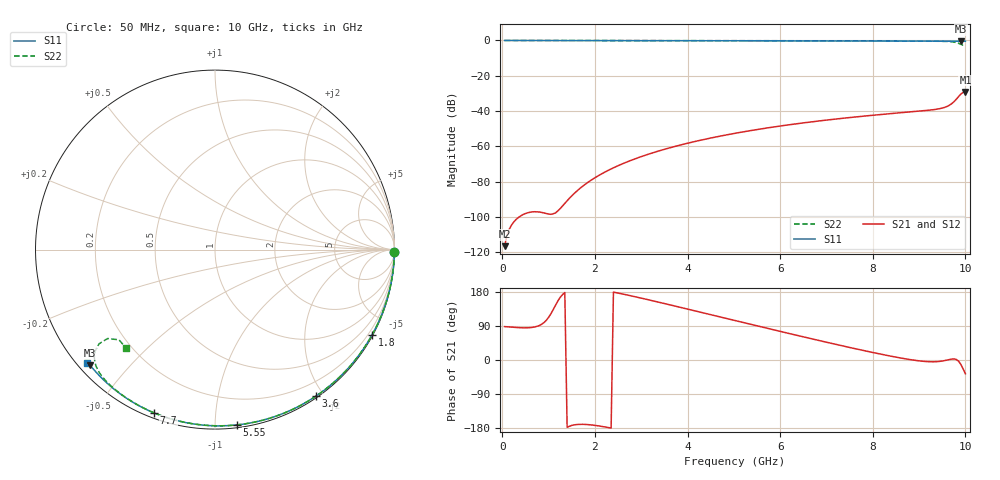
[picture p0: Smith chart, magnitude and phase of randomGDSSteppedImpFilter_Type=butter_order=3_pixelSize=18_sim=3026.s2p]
! freq	dB(S11)	phase(S11)	dB(S12)	phase(S12)
!  dB(S21)	phase(S21)	dB(S22)	phase(S22)
!S-par simulation data
#  GHz  S  DB  R 50
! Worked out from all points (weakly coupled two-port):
!   200 points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, 50 MHz to 10 GHz, reference 50 ohm
!   highest |S21| = -29.22 dB at 10 GHz (marker M1); lowest = -116.4 dB at 50 MHz (marker M2)
!   lowest |S11| = -0.5 dB at 9.9 GHz (marker M3), VSWR 38.28, Z = 1.51 - j19.6 ohm
!   |S11| at or under -10 dB: nowhere
!   |S22| runs from -2.7 to 0.0 dB; largest |S21 - S12| = 0
!   S11 on the Smith chart (normalised r, x): 50 MHz: open; 1.8 GHz: 0.03, -3.95; 3.6 GHz: 0.02, -1.90; 5.55 GHz: 0.02, -1.13; 7.7 GHz: 0.02, -0.69; 10 GHz: 0.03, -0.38
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0.05  -0.00 -0.8  -116.42 88.1  -116.42 88.1  -0.00 -0.8
0.9  -0.02 -14.3  -97.61 98.7  -97.61 98.7  -0.02 -13.8
1.75  -0.04 -27.6  -82.19 -169.8  -82.19 -169.8  -0.03 -26.7
1.8  -0.04 -28.4  -81.21 -170.1  -81.21 -170.1  -0.03 -27.4
1.9  -0.04 -29.9  -79.38 -171.1  -79.38 -171.1  -0.04 -28.9
2.25  -0.05 -35.3  -74.01 -177.4  -74.01 -177.4  -0.04 -34.1
2.65  -0.05 -41.4  -69.20 172.8  -69.20 172.8  -0.05 -40.0
3.4  -0.07 -52.6  -62.37 151.9  -62.37 151.9  -0.07 -50.8
3.6  -0.07 -55.5  -60.87 146.1  -60.87 146.1  -0.07 -53.7
4.3  -0.09 -65.5  -56.35 125.6  -56.35 125.6  -0.09 -63.4
5.05  -0.12 -76.0  -52.43 103.4  -52.43 103.4  -0.11 -73.6
5.55  -0.14 -82.8  -50.21 88.7  -50.21 88.7  -0.13 -80.2
6.7  -0.19 -97.9  -46.00 55.4  -46.00 55.4  -0.18 -95.0
7.7  -0.25 -110.5  -43.10 27.7  -43.10 27.7  -0.24 -107.5
8.35  -0.30 -118.5  -41.49 11.1  -41.49 11.1  -0.29 -115.7
9.2  -0.38 -128.9  -39.51 -4.4  -39.51 -4.4  -0.39 -127.0
9.5  -0.42 -132.5  -38.28 -2.8  -38.28 -2.8  -0.49 -132.0
9.7  -0.44 -134.9  -35.86 2.4  -35.86 2.4  -0.74 -136.7
9.8  -0.45 -136.0  -33.37 1.5  -33.37 1.5  -1.16 -139.8
9.9  -0.45 -137.2  -30.37 -11.2  -30.37 -11.2  -2.19 -140.4
9.95  -0.45 -137.8  -29.41 -23.3  -29.41 -23.3  -2.69 -136.8
10  -0.45 -138.5  -29.22 -36.2  -29.22 -36.2  -2.62 -131.9
